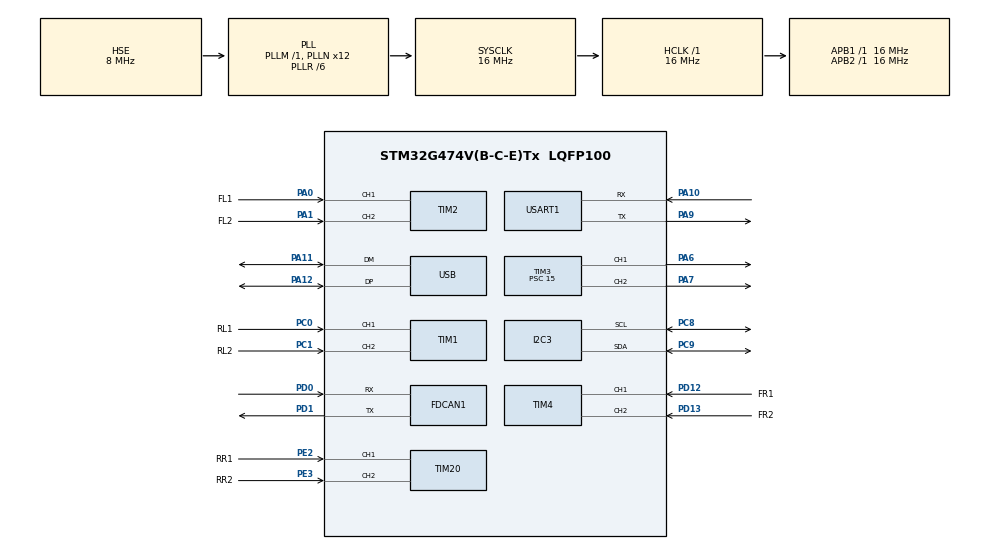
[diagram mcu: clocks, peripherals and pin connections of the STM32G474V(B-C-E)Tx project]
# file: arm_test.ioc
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FDCAN1.AutoRetransmission=ENABLE
FDCAN1.CalculateBaudRateNominal=500000
FDCAN1.CalculateTimeBitNominal=2000
FDCAN1.CalculateTimeQuantumNominal=62.5
FDCAN1.NominalPrescaler=1
FDCAN1.NominalSyncJumpWidth=6
FDCAN1.NominalTimeSeg1=25
FDCAN1.NominalTimeSeg2=6
I2C3.Timing=0x00503D58
Mcu.Family=STM32G4
Mcu.Name=STM32G474V(B-C-E)Tx
Mcu.Package=LQFP100
NVIC.I2C3_ER_IRQn=true\:6\:0\:true\:false\:true\:true\:true\:true
NVIC.I2C3_EV_IRQn=true\:6\:0\:true\:false\:true\:true\:true\:true
NVIC.PriorityGroup=NVIC_PRIORITYGROUP_4
NVIC.TIM6_DAC_IRQn=true\:5\:0\:true\:false\:true\:true\:true\:true
NVIC.USB_LP_IRQn=true\:0\:0\:false\:false\:true\:false\:true\:true
PA0.GPIO_Label=FL1
PA0.Signal=S_TIM2_CH1
PA1.GPIO_Label=FL2
PA1.Signal=S_TIM2_CH2
PA10.Mode=Asynchronous
PA10.Signal=USART1_RX
PA11.Mode=Device
PA11.Signal=USB_DM
PA12.Mode=Device
PA12.Signal=USB_DP
PA13.Mode=Serial_Wire
PA13.Signal=SYS_JTMS-SWDIO
PA14.Mode=Serial_Wire
PA14.Signal=SYS_JTCK-SWCLK
PA6.Signal=S_TIM3_CH1
PA7.Signal=S_TIM3_CH2
PA9.Mode=Asynchronous
PA9.Signal=USART1_TX
PC0.GPIO_Label=RL1
PC0.GPIO_PuPd=GPIO_PULLUP
PC0.Signal=S_TIM1_CH1
PC1.GPIO_Label=RL2
PC1.GPIO_PuPd=GPIO_PULLUP
PC1.Signal=S_TIM1_CH2
PC8.GPIO_Pu=GPIO_PULLUP
PC8.Mode=I2C
PC8.Signal=I2C3_SCL
PC9.GPIO_Pu=GPIO_PULLUP
PC9.Mode=I2C
PC9.Signal=I2C3_SDA
PD0.GPIO_PuPd=GPIO_NOPULL
PD0.Mode=FDCAN_Activate
PD0.Signal=FDCAN1_RX
PD1.GPIO_PuPd=GPIO_NOPULL
PD1.Mode=FDCAN_Activate
PD1.Signal=FDCAN1_TX
PD12.GPIO_Label=FR1
PD12.Signal=S_TIM4_CH1
PD13.GPIO_Label=FR2
PD13.Signal=S_TIM4_CH2
PE2.GPIO_Label=RR1
PE2.Signal=S_TIM20_CH1
PE3.GPIO_Label=RR2
PE3.Signal=S_TIM20_CH2
PF0-OSC_IN.Mode=HSE-External-Oscillator
PF0-OSC_IN.Signal=RCC_OSC_IN
PF1-OSC_OUT.Mode=HSE-External-Oscillator
PF1-OSC_OUT.Signal=RCC_OSC_OUT
ProjectManager.HeapSize=0x200
ProjectManager.StackSize=0x400
ProjectManager.TargetToolchain=STM32CubeIDE
RCC.ADC12Freq_Value=16000000
RCC.ADC345Freq_Value=16000000
RCC.AHBFreq_Value=16000000
RCC.APB1Freq_Value=16000000
RCC.APB1TimFreq_Value=16000000
RCC.APB2Freq_Value=16000000
RCC.APB2TimFreq_Value=16000000
RCC.CortexFreq_Value=16000000
RCC.EXTERNAL_CLOCK_VALUE=12288000
RCC.HCLKFreq_Value=16000000
RCC.HSE_VALUE=8000000
RCC.HSI48_VALUE=48000000
RCC.HSI_VALUE=16000000
RCC.LSE_VALUE=32768
RCC.PLLN=12
RCC.PLLR=RCC_PLLR_DIV6
RCC.PLLSourceVirtual=RCC_PLLSOURCE_HSE
RCC.SYSCLKFreq_VALUE=16000000
RCC.SYSCLKSource=RCC_SYSCLKSOURCE_PLLCLK
RCC.USBFreq_Value=48000000
RCC.VCOOutputFreq_Value=96000000
SH.S_TIM1_CH1.0=TIM1_CH1,Encoder_Interface
SH.S_TIM1_CH2.0=TIM1_CH2,Encoder_Interface
SH.S_TIM20_CH1.0=TIM20_CH1,Encoder_Interface
SH.S_TIM20_CH2.0=TIM20_CH2,Encoder_Interface
SH.S_TIM2_CH1.0=TIM2_CH1,Encoder_Interface
SH.S_TIM2_CH2.0=TIM2_CH2,Encoder_Interface
SH.S_TIM3_CH1.0=TIM3_CH1,PWM Generation1 CH1
SH.S_TIM3_CH2.0=TIM3_CH2,PWM Generation2 CH2
SH.S_TIM4_CH1.0=TIM4_CH1,Encoder_Interface
SH.S_TIM4_CH2.0=TIM4_CH2,Encoder_Interface
TIM1.EncoderMode=TIM_ENCODERMODE_TI12
TIM1.IC1Filter=10
TIM1.IC2Filter=10
TIM2.EncoderMode=TIM_ENCODERMODE_TI12
TIM2.IC1Filter=10
TIM2.IC2Filter=10
TIM20.EncoderMode=TIM_ENCODERMODE_TI12
TIM20.IC1Filter=10
TIM20.IC2Filter=10
TIM3.Channel-PWM\ Generation1\ CH1=TIM_CHANNEL_1
TIM3.Channel-PWM\ Generation2\ CH2=TIM_CHANNEL_2
TIM3.PeriodNoDither=19999
TIM3.Prescaler=15
TIM4.EncoderMode=TIM_ENCODERMODE_TI12
TIM4.IC1Filter=10
TIM4.IC2Filter=10
TIM6.AutoReloadPreload=TIM_AUTORELOAD_PRELOAD_ENABLE
TIM6.PeriodNoDither=4999
TIM6.Prescaler=15
USART1.VirtualMode-Asynchronous=VM_ASYNC
USB_DEVICE.CLASS_NAME_FS=CDC
USB_DEVICE.VirtualMode=Cdc
USB_DEVICE.VirtualModeFS=Cdc_FS
VP_SYS_VS_DBSignals.Mode=DisableDeadBatterySignals
VP_TIM3_VS_ClockSourceINT.Mode=Internal
VP_TIM6_VS_ClockSourceINT.Mode=Enable_Timer
VP_USB_DEVICE_VS_USB_DEVICE_CDC_FS.Mode=CDC_FS
board=custom

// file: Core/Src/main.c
/* USER CODE BEGIN Header */
/**
  ******************************************************************************
  * @file           : main.c
  * @brief          : Main program body
  ******************************************************************************
  * @attention
  *
  * Copyright (c) 2026 STMicroelectronics.
  * All rights reserved.
  *
  * This software is licensed under terms that can be found in the LICENSE file
  * in the root directory of this software component.
  * If no LICENSE file comes with this software, it is provided AS-IS.
  *
  ******************************************************************************
  */
/* USER CODE END Header */
#include "main.h"
#include "usb_device.h"

/* USER CODE BEGIN Includes */
#include <stdio.h>
#include "bsp_can.h"
#include "zdt_x42s.h"
#include "cmd_uart.h"
#include "servo.h"
#include "joint.h"
#include "uart_rx.h"
#include "ros_link.h"
#include "link.h"
#include "wrist.h"
#include "motor.h"

/* USER CODE END Includes */

FDCAN_HandleTypeDef hfdcan1;

I2C_HandleTypeDef hi2c3;

TIM_HandleTypeDef htim1;
TIM_HandleTypeDef htim2;
TIM_HandleTypeDef htim3;
TIM_HandleTypeDef htim4;
TIM_HandleTypeDef htim6;
TIM_HandleTypeDef htim20;

UART_HandleTypeDef huart1;

void SystemClock_Config(void);
static void MX_GPIO_Init(void);
static void MX_FDCAN1_Init(void);
static void MX_TIM3_Init(void);
static void MX_USART1_UART_Init(void);
static void MX_TIM2_Init(void);
static void MX_TIM4_Init(void);
static void MX_TIM6_Init(void);
static void MX_I2C3_Init(void);
static void MX_TIM1_Init(void);
static void MX_TIM20_Init(void);

/* USER CODE BEGIN 0 */
int __io_putchar(int ch)
{
    link_console_putc((uint8_t)ch);   /* USB + UART (duong dang chay ROS thi khong in) */
    return ch;
}
/* USER CODE END 0 */

int main(void)
{

  /* MCU Configuration--------------------------------------------------------*/

  /* Reset of all peripherals, Initializes the Flash interface and the Systick. */
  HAL_Init();

  /* Configure the system clock */
  SystemClock_Config();

  /* Initialize all configured peripherals */
  MX_GPIO_Init();
  MX_FDCAN1_Init();
  MX_TIM3_Init();
  MX_USB_Device_Init();
  MX_USART1_UART_Init();
  MX_TIM2_Init();
  MX_TIM4_Init();
  MX_TIM6_Init();
  MX_I2C3_Init();
  MX_TIM1_Init();
  MX_TIM20_Init();
  /* USER CODE BEGIN 2 */
  setvbuf(stdout, NULL, _IONBF, 0);
  printf("\r\n===== CANH TAY 4 KHOP (ZDT X42S x4) =====\r\n");

  if (bsp_can_start() != HAL_OK) {
    printf("LOI: khong khoi dong duoc FDCAN1\r\n");
  }

  servo_start();   /* PWM 50 Hz tren PA6, chua phat xung cho toi khi co lenh gripper */
  wrist_start();   /* khop 5, PWM TIM3 CH2 */      // <- thêm dòng này
  motor_init();
  joint_init();    /* goc 0 cua moi khop = vi tri luc bat nguon */
  cmd_uart_init(); /* in danh sach lenh va quet 4 driver */
  ros_link_init(); /* giao tiep nhi phan voi Pi, tu bat khi nhan goi dau tien */
  link_init();     /* bat nhan UART; USB da duoc MX_USB_Device_Init() khoi tao */
  /* USER CODE END 2 */

  /* Infinite loop */
  while (1)
  {

    /* USER CODE BEGIN 3 */
	link_task();     /* day du lieu USB di */
    cmd_uart_poll();   /* console text, hoac chuyen byte cho ros_link khi o che do ROS */
    ros_link_task();   /* che do ROS: watchdog, gui lenh, doc vi tri, gui STATE 50 Hz */
  }
  /* USER CODE END 3 */
}

void SystemClock_Config(void)
{
  RCC_OscInitTypeDef RCC_OscInitStruct = {0};
  RCC_ClkInitTypeDef RCC_ClkInitStruct = {0};

  /** Configure the main internal regulator output voltage
  */
  HAL_PWREx_ControlVoltageScaling(PWR_REGULATOR_VOLTAGE_SCALE1);

  /** Initializes the RCC Oscillators according to the specified parameters
  * in the RCC_OscInitTypeDef structure.
  */
  RCC_OscInitStruct.OscillatorType = RCC_OSCILLATORTYPE_HSE;
  RCC_OscInitStruct.HSEState = RCC_HSE_ON;
  RCC_OscInitStruct.PLL.PLLState = RCC_PLL_ON;
  RCC_OscInitStruct.PLL.PLLSource = RCC_PLLSOURCE_HSE;
  RCC_OscInitStruct.PLL.PLLM = RCC_PLLM_DIV1;
  RCC_OscInitStruct.PLL.PLLN = 12;
  RCC_OscInitStruct.PLL.PLLP = RCC_PLLP_DIV2;
  RCC_OscInitStruct.PLL.PLLQ = RCC_PLLQ_DIV2;
  RCC_OscInitStruct.PLL.PLLR = RCC_PLLR_DIV6;
  if (HAL_RCC_OscConfig(&RCC_OscInitStruct) != HAL_OK)
  {
    Error_Handler();
  }

  /** Initializes the CPU, AHB and APB buses clocks
  */
  RCC_ClkInitStruct.ClockType = RCC_CLOCKTYPE_HCLK|RCC_CLOCKTYPE_SYSCLK
                              |RCC_CLOCKTYPE_PCLK1|RCC_CLOCKTYPE_PCLK2;
  RCC_ClkInitStruct.SYSCLKSource = RCC_SYSCLKSOURCE_PLLCLK;
  RCC_ClkInitStruct.AHBCLKDivider = RCC_SYSCLK_DIV1;
  RCC_ClkInitStruct.APB1CLKDivider = RCC_HCLK_DIV1;
  RCC_ClkInitStruct.APB2CLKDivider = RCC_HCLK_DIV1;

  if (HAL_RCC_ClockConfig(&RCC_ClkInitStruct, FLASH_LATENCY_0) != HAL_OK)
  {
    Error_Handler();
  }
}

static void MX_FDCAN1_Init(void)
{

  hfdcan1.Instance = FDCAN1;
  hfdcan1.Init.ClockDivider = FDCAN_CLOCK_DIV1;
  hfdcan1.Init.FrameFormat = FDCAN_FRAME_CLASSIC;
  hfdcan1.Init.Mode = FDCAN_MODE_NORMAL;
  hfdcan1.Init.AutoRetransmission = ENABLE;
  hfdcan1.Init.TransmitPause = DISABLE;
  hfdcan1.Init.ProtocolException = DISABLE;
  hfdcan1.Init.NominalPrescaler = 1;
  hfdcan1.Init.NominalSyncJumpWidth = 6;
  hfdcan1.Init.NominalTimeSeg1 = 25;
  hfdcan1.Init.NominalTimeSeg2 = 6;
  hfdcan1.Init.DataPrescaler = 1;
  hfdcan1.Init.DataSyncJumpWidth = 1;
  hfdcan1.Init.DataTimeSeg1 = 1;
  hfdcan1.Init.DataTimeSeg2 = 1;
  hfdcan1.Init.StdFiltersNbr = 0;
  hfdcan1.Init.ExtFiltersNbr = 0;
  hfdcan1.Init.TxFifoQueueMode = FDCAN_TX_FIFO_OPERATION;
  if (HAL_FDCAN_Init(&hfdcan1) != HAL_OK)
  {
    Error_Handler();
  }

}

static void MX_I2C3_Init(void)
{

  hi2c3.Instance = I2C3;
  hi2c3.Init.Timing = 0x00503D58;
  hi2c3.Init.OwnAddress1 = 0;
  hi2c3.Init.AddressingMode = I2C_ADDRESSINGMODE_7BIT;
  hi2c3.Init.DualAddressMode = I2C_DUALADDRESS_DISABLE;
  hi2c3.Init.OwnAddress2 = 0;
  hi2c3.Init.OwnAddress2Masks = I2C_OA2_NOMASK;
  hi2c3.Init.GeneralCallMode = I2C_GENERALCALL_DISABLE;
  hi2c3.Init.NoStretchMode = I2C_NOSTRETCH_DISABLE;
  if (HAL_I2C_Init(&hi2c3) != HAL_OK)
  {
    Error_Handler();
  }

  /** Configure Analogue filter
  */
  if (HAL_I2CEx_ConfigAnalogFilter(&hi2c3, I2C_ANALOGFILTER_ENABLE) != HAL_OK)
  {
    Error_Handler();
  }

  /** Configure Digital filter
  */
  if (HAL_I2CEx_ConfigDigitalFilter(&hi2c3, 0) != HAL_OK)
  {
    Error_Handler();
  }

}

static void MX_TIM1_Init(void)
{

  TIM_Encoder_InitTypeDef sConfig = {0};
  TIM_MasterConfigTypeDef sMasterConfig = {0};

  htim1.Instance = TIM1;
  htim1.Init.Prescaler = 0;
  htim1.Init.CounterMode = TIM_COUNTERMODE_UP;
  htim1.Init.Period = 65535;
  htim1.Init.ClockDivision = TIM_CLOCKDIVISION_DIV1;
  htim1.Init.RepetitionCounter = 0;
  htim1.Init.AutoReloadPreload = TIM_AUTORELOAD_PRELOAD_DISABLE;
  sConfig.EncoderMode = TIM_ENCODERMODE_TI12;
  sConfig.IC1Polarity = TIM_ICPOLARITY_RISING;
  sConfig.IC1Selection = TIM_ICSELECTION_DIRECTTI;
  sConfig.IC1Prescaler = TIM_ICPSC_DIV1;
  sConfig.IC1Filter = 10;
  sConfig.IC2Polarity = TIM_ICPOLARITY_RISING;
  sConfig.IC2Selection = TIM_ICSELECTION_DIRECTTI;
  sConfig.IC2Prescaler = TIM_ICPSC_DIV1;
  sConfig.IC2Filter = 10;
  if (HAL_TIM_Encoder_Init(&htim1, &sConfig) != HAL_OK)
  {
    Error_Handler();
  }
  sMasterConfig.MasterOutputTrigger = TIM_TRGO_RESET;
  sMasterConfig.MasterOutputTrigger2 = TIM_TRGO2_RESET;
  sMasterConfig.MasterSlaveMode = TIM_MASTERSLAVEMODE_DISABLE;
  if (HAL_TIMEx_MasterConfigSynchronization(&htim1, &sMasterConfig) != HAL_OK)
  {
    Error_Handler();
  }

}

static void MX_TIM2_Init(void)
{

  TIM_Encoder_InitTypeDef sConfig = {0};
  TIM_MasterConfigTypeDef sMasterConfig = {0};

  htim2.Instance = TIM2;
  htim2.Init.Prescaler = 0;
  htim2.Init.CounterMode = TIM_COUNTERMODE_UP;
  htim2.Init.Period = 4294967295;
  htim2.Init.ClockDivision = TIM_CLOCKDIVISION_DIV1;
  htim2.Init.AutoReloadPreload = TIM_AUTORELOAD_PRELOAD_DISABLE;
  sConfig.EncoderMode = TIM_ENCODERMODE_TI12;
  sConfig.IC1Polarity = TIM_ICPOLARITY_RISING;
  sConfig.IC1Selection = TIM_ICSELECTION_DIRECTTI;
  sConfig.IC1Prescaler = TIM_ICPSC_DIV1;
  sConfig.IC1Filter = 10;
  sConfig.IC2Polarity = TIM_ICPOLARITY_RISING;
  sConfig.IC2Selection = TIM_ICSELECTION_DIRECTTI;
  sConfig.IC2Prescaler = TIM_ICPSC_DIV1;
  sConfig.IC2Filter = 10;
  if (HAL_TIM_Encoder_Init(&htim2, &sConfig) != HAL_OK)
  {
    Error_Handler();
  }
  sMasterConfig.MasterOutputTrigger = TIM_TRGO_RESET;
  sMasterConfig.MasterSlaveMode = TIM_MASTERSLAVEMODE_DISABLE;
  if (HAL_TIMEx_MasterConfigSynchronization(&htim2, &sMasterConfig) != HAL_OK)
  {
    Error_Handler();
  }

}

static void MX_TIM3_Init(void)
{

  TIM_ClockConfigTypeDef sClockSourceConfig = {0};
  TIM_MasterConfigTypeDef sMasterConfig = {0};
  TIM_OC_InitTypeDef sConfigOC = {0};

  htim3.Instance = TIM3;
  htim3.Init.Prescaler = 15;
  htim3.Init.CounterMode = TIM_COUNTERMODE_UP;
  htim3.Init.Period = 19999;
  htim3.Init.ClockDivision = TIM_CLOCKDIVISION_DIV1;
  htim3.Init.AutoReloadPreload = TIM_AUTORELOAD_PRELOAD_DISABLE;
  if (HAL_TIM_Base_Init(&htim3) != HAL_OK)
  {
    Error_Handler();
  }
  sClockSourceConfig.ClockSource = TIM_CLOCKSOURCE_INTERNAL;
  if (HAL_TIM_ConfigClockSource(&htim3, &sClockSourceConfig) != HAL_OK)
  {
    Error_Handler();
  }
  if (HAL_TIM_PWM_Init(&htim3) != HAL_OK)
  {
    Error_Handler();
  }
  sMasterConfig.MasterOutputTrigger = TIM_TRGO_RESET;
  sMasterConfig.MasterSlaveMode = TIM_MASTERSLAVEMODE_DISABLE;
  if (HAL_TIMEx_MasterConfigSynchronization(&htim3, &sMasterConfig) != HAL_OK)
  {
    Error_Handler();
  }
  sConfigOC.OCMode = TIM_OCMODE_PWM1;
  sConfigOC.Pulse = 0;
  sConfigOC.OCPolarity = TIM_OCPOLARITY_HIGH;
  sConfigOC.OCFastMode = TIM_OCFAST_DISABLE;
  if (HAL_TIM_PWM_ConfigChannel(&htim3, &sConfigOC, TIM_CHANNEL_1) != HAL_OK)
  {
    Error_Handler();
  }
  if (HAL_TIM_PWM_ConfigChannel(&htim3, &sConfigOC, TIM_CHANNEL_2) != HAL_OK)
  {
    Error_Handler();
  }
  HAL_TIM_MspPostInit(&htim3);

}

static void MX_TIM4_Init(void)
{

  TIM_Encoder_InitTypeDef sConfig = {0};
  TIM_MasterConfigTypeDef sMasterConfig = {0};

  htim4.Instance = TIM4;
  htim4.Init.Prescaler = 0;
  htim4.Init.CounterMode = TIM_COUNTERMODE_UP;
  htim4.Init.Period = 65535;
  htim4.Init.ClockDivision = TIM_CLOCKDIVISION_DIV1;
  htim4.Init.AutoReloadPreload = TIM_AUTORELOAD_PRELOAD_DISABLE;
  sConfig.EncoderMode = TIM_ENCODERMODE_TI12;
  sConfig.IC1Polarity = TIM_ICPOLARITY_RISING;
  sConfig.IC1Selection = TIM_ICSELECTION_DIRECTTI;
  sConfig.IC1Prescaler = TIM_ICPSC_DIV1;
  sConfig.IC1Filter = 10;
  sConfig.IC2Polarity = TIM_ICPOLARITY_RISING;
  sConfig.IC2Selection = TIM_ICSELECTION_DIRECTTI;
  sConfig.IC2Prescaler = TIM_ICPSC_DIV1;
  sConfig.IC2Filter = 10;
  if (HAL_TIM_Encoder_Init(&htim4, &sConfig) != HAL_OK)
  {
    Error_Handler();
  }
  sMasterConfig.MasterOutputTrigger = TIM_TRGO_RESET;
  sMasterConfig.MasterSlaveMode = TIM_MASTERSLAVEMODE_DISABLE;
  if (HAL_TIMEx_MasterConfigSynchronization(&htim4, &sMasterConfig) != HAL_OK)
  {
    Error_Handler();
  }

}

static void MX_TIM6_Init(void)
{

  TIM_MasterConfigTypeDef sMasterConfig = {0};

  htim6.Instance = TIM6;
  htim6.Init.Prescaler = 15;
  htim6.Init.CounterMode = TIM_COUNTERMODE_UP;
  htim6.Init.Period = 4999;
  htim6.Init.AutoReloadPreload = TIM_AUTORELOAD_PRELOAD_ENABLE;
  if (HAL_TIM_Base_Init(&htim6) != HAL_OK)
  {
    Error_Handler();
  }
  sMasterConfig.MasterOutputTrigger = TIM_TRGO_RESET;
  sMasterConfig.MasterSlaveMode = TIM_MASTERSLAVEMODE_DISABLE;
  if (HAL_TIMEx_MasterConfigSynchronization(&htim6, &sMasterConfig) != HAL_OK)
  {
    Error_Handler();
  }

}

static void MX_TIM20_Init(void)
{

  TIM_Encoder_InitTypeDef sConfig = {0};
  TIM_MasterConfigTypeDef sMasterConfig = {0};

  htim20.Instance = TIM20;
  htim20.Init.Prescaler = 0;
  htim20.Init.CounterMode = TIM_COUNTERMODE_UP;
  htim20.Init.Period = 65535;
  htim20.Init.ClockDivision = TIM_CLOCKDIVISION_DIV1;
  htim20.Init.RepetitionCounter = 0;
  htim20.Init.AutoReloadPreload = TIM_AUTORELOAD_PRELOAD_DISABLE;
  sConfig.EncoderMode = TIM_ENCODERMODE_TI12;
  sConfig.IC1Polarity = TIM_ICPOLARITY_RISING;
  sConfig.IC1Selection = TIM_ICSELECTION_DIRECTTI;
  sConfig.IC1Prescaler = TIM_ICPSC_DIV1;
  sConfig.IC1Filter = 10;
  sConfig.IC2Polarity = TIM_ICPOLARITY_RISING;
  sConfig.IC2Selection = TIM_ICSELECTION_DIRECTTI;
  sConfig.IC2Prescaler = TIM_ICPSC_DIV1;
  sConfig.IC2Filter = 10;
  if (HAL_TIM_Encoder_Init(&htim20, &sConfig) != HAL_OK)
  {
    Error_Handler();
  }
  sMasterConfig.MasterOutputTrigger = TIM_TRGO_RESET;
  sMasterConfig.MasterOutputTrigger2 = TIM_TRGO2_RESET;
  sMasterConfig.MasterSlaveMode = TIM_MASTERSLAVEMODE_DISABLE;
  if (HAL_TIMEx_MasterConfigSynchronization(&htim20, &sMasterConfig) != HAL_OK)
  {
    Error_Handler();
  }

}

static void MX_USART1_UART_Init(void)
{

  huart1.Instance = USART1;
  huart1.Init.BaudRate = 115200;
  huart1.Init.WordLength = UART_WORDLENGTH_8B;
  huart1.Init.StopBits = UART_STOPBITS_1;
  huart1.Init.Parity = UART_PARITY_NONE;
  huart1.Init.Mode = UART_MODE_TX_RX;
  huart1.Init.HwFlowCtl = UART_HWCONTROL_NONE;
  huart1.Init.OverSampling = UART_OVERSAMPLING_16;
  huart1.Init.OneBitSampling = UART_ONE_BIT_SAMPLE_DISABLE;
  huart1.Init.ClockPrescaler = UART_PRESCALER_DIV1;
  huart1.AdvancedInit.AdvFeatureInit = UART_ADVFEATURE_NO_INIT;
  if (HAL_UART_Init(&huart1) != HAL_OK)
  {
    Error_Handler();
  }
  if (HAL_UARTEx_SetTxFifoThreshold(&huart1, UART_TXFIFO_THRESHOLD_1_8) != HAL_OK)
  {
    Error_Handler();
  }
  if (HAL_UARTEx_SetRxFifoThreshold(&huart1, UART_RXFIFO_THRESHOLD_1_8) != HAL_OK)
  {
    Error_Handler();
  }
  if (HAL_UARTEx_DisableFifoMode(&huart1) != HAL_OK)
  {
    Error_Handler();
  }

}

static void MX_GPIO_Init(void)
{

  /* GPIO Ports Clock Enable */
  __HAL_RCC_GPIOE_CLK_ENABLE();
  __HAL_RCC_GPIOF_CLK_ENABLE();
  __HAL_RCC_GPIOC_CLK_ENABLE();
  __HAL_RCC_GPIOA_CLK_ENABLE();
  __HAL_RCC_GPIOD_CLK_ENABLE();

}

void Error_Handler(void)
{
  __disable_irq();
  while (1)
  {
  }
}
